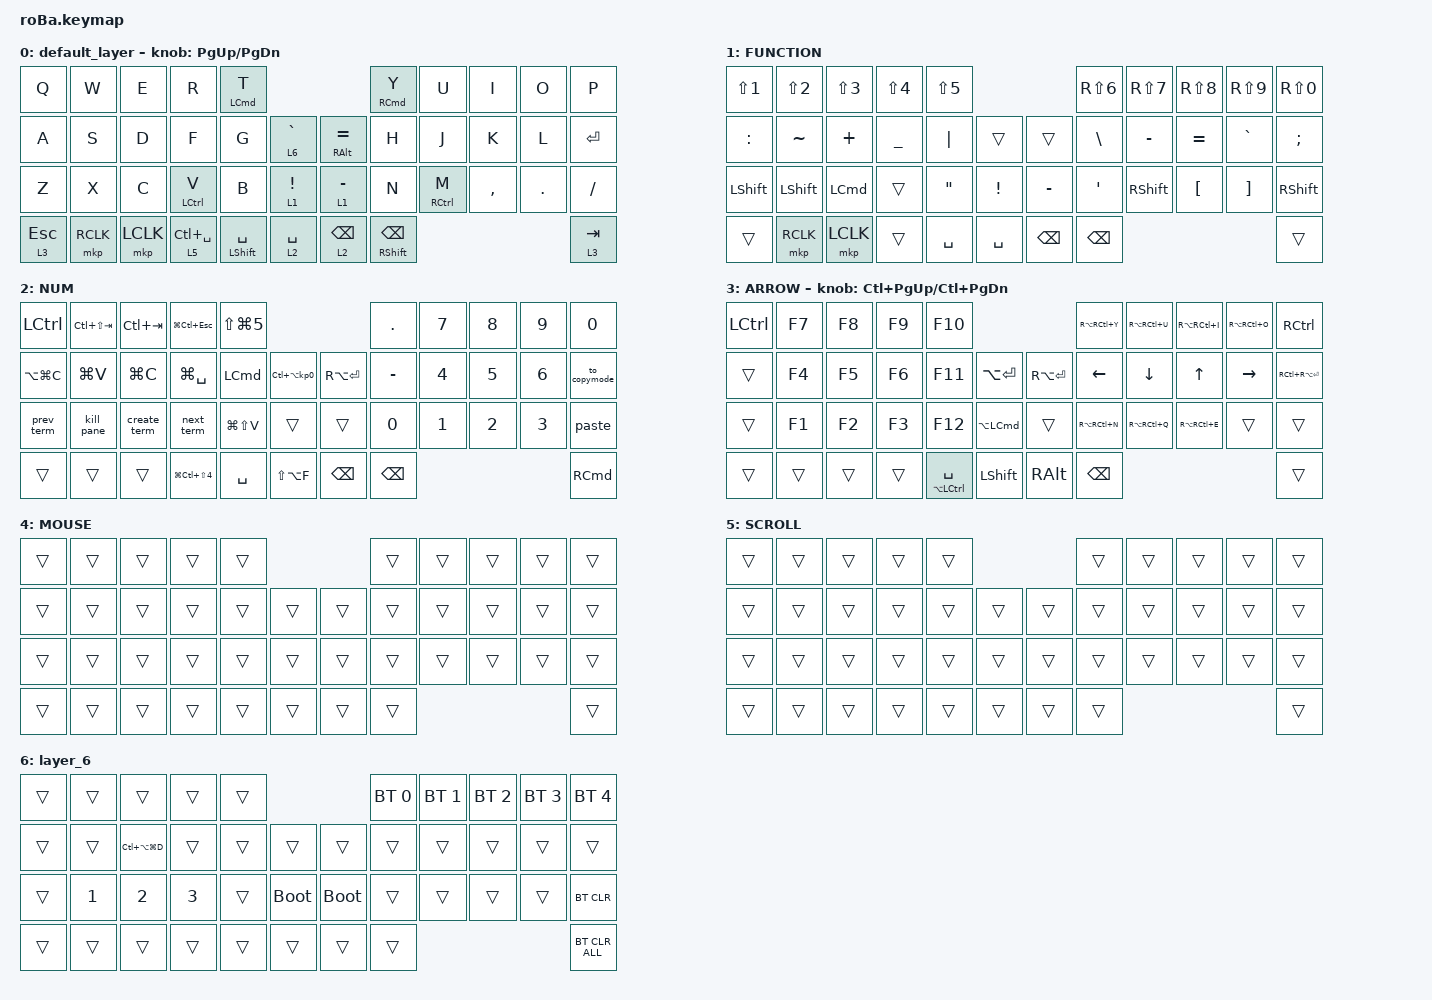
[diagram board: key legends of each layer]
#include <behaviors.dtsi>
#include <dt-bindings/zmk/bt.h>
#include <dt-bindings/zmk/keys.h>
#include <dt-bindings/zmk/pointing.h>

&mt {
    flavor = "balanced";
    quick-tap-ms = <0>;
};

&trackball {
    automouse-layer = <4>;
    scroll-layers = <5>;

    // arrows {
    //     layers = <3>;
    //     bindings =
    //         <&kp RIGHT_ARROW>,
    //         <&kp LEFT_ARROW>,
    //         <&kp UP_ARROW>,
    //         <&kp DOWN_ARROW>;
    //     tick = <10>;
    //     wait-ms = <5>;
    //     tap-ms = <5>;
    // };
};

/ {
    combos {
        compatible = "zmk,combos";

        tab {
            bindings = <&kp TAB>;
            key-positions = <11 12>;
        };

        esc {
            bindings = <&kp ESC>;
            key-positions = <23 24>;
        };

        // 右手の ESC。I+O
        // 通常（0）と自動マウス（4）のレイヤーだけ。ほかのキーの直後 150ms 以内は効かない（"action" の io などの誤爆よけ）
        esc_io {
            bindings = <&kp ESC>;
            key-positions = <7 8>;
            layers = <0 4>;
            require-prior-idle-ms = <150>;
        };

        // macOS の入力切り替え。K+L で英数、,+. でかな
        // 通常（0）と自動マウス（4）のレイヤーだけ。ほかのキーの直後 150ms 以内は効かない（打鍵中の誤爆よけ）
        eisu {
            bindings = <&kp LANG2>;
            key-positions = <19 20>;
            layers = <0 4>;
            require-prior-idle-ms = <150>;
        };

        kana {
            bindings = <&kp LANG1>;
            key-positions = <31 32>;
            layers = <0 4>;
            require-prior-idle-ms = <150>;
        };
    };

    macros {
        to_layer_0: to_layer_0 {
            compatible = "zmk,behavior-macro-one-param";
            #binding-cells = <1>;
            bindings = <&to 0 &macro_param_1to1 &kp MACRO_PLACEHOLDER>;
            label = "TO_LAYER_0";
        };

        to_copymode: to_copymode {
            compatible = "zmk,behavior-macro";
            #binding-cells = <0>;
            bindings = <&kp LC(G) &kp LEFT_BRACKET>;
            label = "TO_COPYMODE";
        };

        paste: paste {
            compatible = "zmk,behavior-macro";
            #binding-cells = <0>;
            bindings = <&kp LC(G) &kp EQUAL>;
            label = "PASTE";
        };

        create_term: create_term {
            compatible = "zmk,behavior-macro";
            #binding-cells = <0>;
            bindings = <&kp LC(G) &kp C>;
            label = "CREATE_TERM";
        };

        kill_pane: kill_pane {
            compatible = "zmk,behavior-macro";
            #binding-cells = <0>;
            bindings = <&kp LC(G) &kp X>;
            label = "KILL_PANE";
        };

        next_term: next_term {
            compatible = "zmk,behavior-macro";
            #binding-cells = <0>;
            bindings = <&kp LC(G) &kp N>;
            label = "NEXT_TERM";
        };

        prev_term: prev_term {
            compatible = "zmk,behavior-macro";
            #binding-cells = <0>;
            bindings = <&kp LC(G) &kp P>;
            label = "PREV_TERM";
        };
    };

    behaviors {
        lt_to_layer_0: lt_to_layer_0 {
            compatible = "zmk,behavior-hold-tap";
            label = "LAYER_TAP_TO_0";
            bindings = <&mo>, <&to_layer_0>;

            #binding-cells = <2>;
            tapping-term-ms = <200>;
        };

        lt_sys: lt_sys {
            compatible = "zmk,behavior-hold-tap";
            bindings = <&mo>, <&to_layer_0>;

            #binding-cells = <2>;
            tapping-term-ms = <200>;
            require-prior-idle-ms = <150>;
        };
    };

    keymap {
        compatible = "zmk,keymap";

        default_layer {
            bindings = <
&kp Q                 &kp W      &kp E      &kp R                       &mt LEFT_COMMAND T                                                                  &mt RIGHT_COMMAND Y        &kp U        &kp I      &kp O    &kp P
&kp A                 &kp S      &kp D      &kp F                       &kp G                 &lt_sys 6 GRAVE                   &mt RIGHT_ALT EQUAL         &kp H                      &kp J        &kp K      &kp L    &kp RETURN
&kp Z                 &kp X      &kp C      &mt LCTRL V                 &kp B                 &lt_to_layer_0 1 EXCLAMATION      &lt_to_layer_0 1 MINUS      &kp N                      &mt RCTRL M  &kp COMMA  &kp DOT  &kp SLASH
&lt_to_layer_0 3 ESC  &mkp RCLK  &mkp LCLK  &lt_to_layer_0 5 LC(SPACE)  &mt LEFT_SHIFT SPACE  &lt_to_layer_0 2 SPACE            &lt_to_layer_0 2 BACKSPACE  &mt RIGHT_SHIFT BACKSPACE                                   &lt_to_layer_0 3 TAB
            >;

            sensor-bindings = <&inc_dec_kp PG_UP PAGE_DOWN>;
        };

        FUNCTION {
            bindings = <
&kp LS(N1)      &kp LS(N2)      &kp LS(N3)        &kp LS(N4)      &kp LS(N5)                                             &kp RS(NUMBER_6)  &kp RS(NUMBER_7)  &kp RS(N8)        &kp RS(N9)         &kp RS(N0)
&kp COLON       &kp TILDE       &kp PLUS          &kp UNDERSCORE  &kp PIPE           &trans               &trans         &kp BACKSLASH     &kp MINUS         &kp EQUAL         &kp GRAVE          &kp SEMICOLON
&kp LEFT_SHIFT  &kp LEFT_SHIFT  &kp LEFT_COMMAND  &trans          &kp DOUBLE_QUOTES  &kp EXCLAMATION      &kp MINUS      &kp SINGLE_QUOTE  &kp RIGHT_SHIFT   &kp LEFT_BRACKET  &kp RIGHT_BRACKET  &kp RIGHT_SHIFT
&trans          &mkp RCLK       &mkp LCLK         &trans          &kp SPACE          &kp SPACE            &kp BACKSPACE  &kp BACKSPACE                                                            &trans
            >;
        };

        NUM {
            bindings = <
&kp LEFT_CONTROL  &kp LC(LS(TAB))  &kp LC(TAB)   &kp LG(LC(ESC))     &kp LS(LG(N5))                                                 &kp PERIOD     &kp N7  &kp N8  &kp N9  &kp N0
&kp LA(LG(C))     &kp LG(V)        &kp LG(C)     &kp LG(SPACE)       &kp LEFT_COMMAND  &kp LC(LA(KP_NUMBER_0))      &kp RA(RETURN)  &kp MINUS      &kp N4  &kp N5  &kp N6  &to_copymode
&prev_term        &kill_pane       &create_term  &next_term          &kp LG(LS(V))     &trans                       &trans          &kp N0         &kp N1  &kp N2  &kp N3  &paste
&trans            &trans           &trans        &kp LG(LC(LS(N4)))  &kp SPACE         &kp LS(LA(F))                &kp BACKSPACE   &kp BACKSPACE                          &kp RIGHT_COMMAND
            >;
        };

        ARROW {
            bindings = <
&kp LCTRL  &kp F7  &kp F8  &kp F9  &kp F10                                                        &kp RA(RC(Y))  &kp RA(RC(U))  &kp RA(RC(I))  &kp RA(RC(O))  &kp RCTRL
&trans     &kp F4  &kp F5  &kp F6  &kp F11              &kp LA(RETURN)            &kp RA(RETURN)  &kp LEFT       &kp DOWN       &kp UP_ARROW   &kp RIGHT      &kp RC(RA(RETURN))
&trans     &kp F1  &kp F2  &kp F3  &kp F12              &kp LA(LEFT_COMMAND)      &trans          &kp RA(RC(N))  &kp RA(RC(Q))  &kp RA(RC(E))  &trans         &trans
&trans     &trans  &trans  &trans  &mt LA(LCTRL) SPACE  &kp LEFT_SHIFT            &kp RIGHT_ALT   &kp BACKSPACE                                               &trans
            >;

            sensor-bindings = <&inc_dec_kp LC(PAGE_UP) LC(PAGE_DOWN)>;
        };

        MOUSE {
            bindings = <
&trans  &trans  &trans  &trans  &trans                      &trans  &trans  &trans  &trans  &trans
&trans  &trans  &trans  &trans  &trans  &trans      &trans  &trans  &trans  &trans  &trans  &trans
&trans  &trans  &trans  &trans  &trans  &trans      &trans  &trans  &trans  &trans  &trans  &trans
&trans  &trans  &trans  &trans  &trans  &trans      &trans  &trans                          &trans
            >;
        };

        SCROLL {
            bindings = <
&trans  &trans  &trans  &trans  &trans                      &trans  &trans  &trans  &trans  &trans
&trans  &trans  &trans  &trans  &trans  &trans      &trans  &trans  &trans  &trans  &trans  &trans
&trans  &trans  &trans  &trans  &trans  &trans      &trans  &trans  &trans  &trans  &trans  &trans
&trans  &trans  &trans  &trans  &trans  &trans      &trans  &trans                          &trans
            >;
        };

        layer_6 {
            bindings = <
&trans  &trans        &trans             &trans        &trans                           &bt BT_SEL 0  &bt BT_SEL 1  &bt BT_SEL 2  &bt BT_SEL 3  &bt BT_SEL 4
&trans  &trans        &kp LC(LA(LG(D)))  &trans        &trans  &trans      &trans       &trans        &trans        &trans        &trans        &trans
&trans  &kp NUMBER_1  &kp NUMBER_2       &kp NUMBER_3  &trans  &bootloader &bootloader  &trans        &trans        &trans        &trans        &bt BT_CLR
&trans  &trans        &trans             &trans        &trans  &trans      &trans       &trans                                                  &bt BT_CLR_ALL
            >;
        };
    };
};
